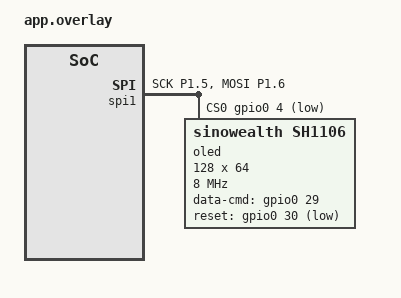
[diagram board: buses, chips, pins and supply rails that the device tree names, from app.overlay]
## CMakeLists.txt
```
cmake_minimum_required(VERSION 3.20.0)

find_package(Zephyr REQUIRED HINTS \$ENV{ZEPHYR_BASE})
project(oled_hello_world)

target_sources(app PRIVATE
  src/main.c
  src/controls.c 
  src/render.c 
  src/animations/animation_3.c
)
```

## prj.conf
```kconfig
CONFIG_GPIO=y
CONFIG_SPI=y

CONFIG_DISPLAY=y
CONFIG_SSD1306=y

CONFIG_CHARACTER_FRAMEBUFFER=y
CONFIG_HEAP_MEM_POOL_SIZE=4096

CONFIG_CONSOLE=y
CONFIG_UART_CONSOLE=y
CONFIG_LOG=y

CONFIG_MAIN_STACK_SIZE=2048
CONFIG_ASSERT=y
```

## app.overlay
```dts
#include <zephyr/dt-bindings/gpio/gpio.h>

/ {
	chosen {
		/* Вказуємо Zephyr використовувати саме наш пристрій як головний дисплей */
		zephyr,display = &oled;
	};
};

&pinctrl {
	spi1_default: spi1_default {
		group1 {
			psels = <NRF_PSEL(SPIM_SCK, 1, 5)>,
				<NRF_PSEL(SPIM_MOSI, 1, 6)>;
		};
	};

	spi1_sleep: spi1_sleep {
		group1 {
			psels = <NRF_PSEL(SPIM_SCK, 1, 5)>,
				<NRF_PSEL(SPIM_MOSI, 1, 6)>;
			low-power-enable;
		};
	};
};

&spi1 {
	compatible = "nordic,nrf-spim";
	status = "okay";
	/* Явно зв'язуємо конфігурацію пінів з периферійним модулем */
	pinctrl-0 = <&spi1_default>;
	pinctrl-1 = <&spi1_sleep>;
	pinctrl-names = "default", "sleep";
	cs-gpios = <&gpio0 4 GPIO_ACTIVE_LOW>;

	oled: sh1106@0 {
		compatible = "sinowealth,sh1106";
		reg = <0>;
		spi-max-frequency = <8000000>;
		width = <128>;
		height = <64>;
		segment-offset = <2>;
		page-offset = <0>;
		display-offset = <0>;
		multiplex-ratio = <63>;
		prechargep = <0x22>;
		segment-remap;
		com-invdir;
		data-cmd-gpios = <&gpio0 29 GPIO_ACTIVE_HIGH>;
		reset-gpios = <&gpio0 30 GPIO_ACTIVE_LOW>;
	};
};
```

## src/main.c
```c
#include <zephyr/kernel.h>
#include <zephyr/device.h>
#include <zephyr/drivers/display.h>
#include <zephyr/display/cfb.h>
#include <stdio.h>

#include "controls.h"
#include "render.h"

static const struct device *const display = DEVICE_DT_GET(DT_CHOSEN(zephyr_display));
K_SEM_DEFINE(display_sem, 0, 1);

void animation_timer_handler(struct k_timer *dummy) {
	k_sem_give(&display_sem);
}
K_TIMER_DEFINE(anim_timer, animation_timer_handler, NULL);

int main(void) {
	if (!device_is_ready(display) || cfb_framebuffer_init(display)) {
		return -EIO;
	}

  int64_t last_time = k_uptime_get();
  int64_t current_time;

	cfb_framebuffer_invert(display);

	init_controls();

	uint16_t width = cfb_get_display_parameter(display, CFB_DISPLAY_WIDTH);
	uint16_t height = cfb_get_display_parameter(display, CFB_DISPLAY_HEIGHT);

	k_timer_start(&anim_timer, K_NO_WAIT, K_MSEC(20)); 

	while (1) {
		k_sem_take(&display_sem, K_FOREVER);

    current_time = k_uptime_get();
    float dt = (current_time - last_time) / 1000.0f;
    last_time = current_time;

    cfb_framebuffer_clear(display, false);

    ControlsState current_buttons;
		get_buttons_snapshot(&current_buttons);

    render_draw(display, dt, current_buttons, width, height);

		cfb_framebuffer_finalize(display);
	}
	return 0;
}
```

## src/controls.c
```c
#include "controls.h"

static const struct gpio_dt_spec btn_1_spec = GPIO_DT_SPEC_GET(DT_ALIAS(sw0), gpios);
static const struct gpio_dt_spec btn_2_spec = GPIO_DT_SPEC_GET(DT_ALIAS(sw1), gpios);
static const struct gpio_dt_spec btn_3_spec = GPIO_DT_SPEC_GET(DT_ALIAS(sw2), gpios);
static const struct gpio_dt_spec btn_4_spec = GPIO_DT_SPEC_GET(DT_ALIAS(sw3), gpios);

static struct gpio_callback cb_1, cb_2, cb_3, cb_4;

static volatile bool is_btn_1_pressed = false;
static volatile bool is_btn_2_pressed = false;
static volatile bool is_btn_3_pressed = false;
static volatile bool is_btn_4_pressed = false;

static void handler_btn_1(const struct device *dev, struct gpio_callback *cb, uint32_t pins) {
	is_btn_1_pressed = gpio_pin_get_dt(&btn_1_spec);
}

static void handler_btn_2(const struct device *dev, struct gpio_callback *cb, uint32_t pins) {
	is_btn_2_pressed = gpio_pin_get_dt(&btn_2_spec);
}

static void handler_btn_3(const struct device *dev, struct gpio_callback *cb, uint32_t pins) {
	is_btn_3_pressed = gpio_pin_get_dt(&btn_3_spec);
}

static void handler_btn_4(const struct device *dev, struct gpio_callback *cb, uint32_t pins) {
	is_btn_4_pressed = gpio_pin_get_dt(&btn_4_spec);
}

void init_controls(void) {
	if (device_is_ready(btn_1_spec.port)) {
		gpio_pin_configure_dt(&btn_1_spec, GPIO_INPUT);
		gpio_pin_interrupt_configure_dt(&btn_1_spec, GPIO_INT_EDGE_BOTH);
		gpio_init_callback(&cb_1, handler_btn_1, BIT(btn_1_spec.pin));
		gpio_add_callback(btn_1_spec.port, &cb_1);
	}
	if (device_is_ready(btn_2_spec.port)) {
		gpio_pin_configure_dt(&btn_2_spec, GPIO_INPUT);
		gpio_pin_interrupt_configure_dt(&btn_2_spec, GPIO_INT_EDGE_BOTH);
		gpio_init_callback(&cb_2, handler_btn_2, BIT(btn_2_spec.pin));
		gpio_add_callback(btn_2_spec.port, &cb_2);
	}
	if (device_is_ready(btn_3_spec.port)) {
		gpio_pin_configure_dt(&btn_3_spec, GPIO_INPUT);
		gpio_pin_interrupt_configure_dt(&btn_3_spec, GPIO_INT_EDGE_BOTH);
		gpio_init_callback(&cb_3, handler_btn_3, BIT(btn_3_spec.pin));
		gpio_add_callback(btn_3_spec.port, &cb_3);
	}
	if (device_is_ready(btn_4_spec.port)) {
		gpio_pin_configure_dt(&btn_4_spec, GPIO_INPUT);
		gpio_pin_interrupt_configure_dt(&btn_4_spec, GPIO_INT_EDGE_BOTH);
		gpio_init_callback(&cb_4, handler_btn_4, BIT(btn_4_spec.pin));
		gpio_add_callback(btn_4_spec.port, &cb_4);
	}
}

void get_buttons_snapshot(ControlsState *state) {
    if (state == NULL) {
        return;
    }
    state->btn_1 = is_btn_1_pressed;
    state->btn_2 = is_btn_2_pressed;
    state->btn_3 = is_btn_3_pressed;
    state->btn_4 = is_btn_4_pressed;
}
```

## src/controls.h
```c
#ifndef CONTROLS_H_
#define CONTROLS_H_

// Захищаємо controls.c і даємо йому всі типи ядра Zephyr тут!
#include <zephyr/kernel.h>
#include <zephyr/device.h>
#include <zephyr/drivers/gpio.h>
#include <stdint.h>
#include <stdbool.h>
#include <stddef.h>

typedef struct {
    bool btn_1;
    bool btn_2;
    bool btn_3;
    bool btn_4;
} ControlsState;

void init_controls(void);
void get_buttons_snapshot(ControlsState *state);

#endif /* CONTROLS_H_ */
```

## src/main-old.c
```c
#include <zephyr/kernel.h>
#include <zephyr/device.h>
#include <zephyr/drivers/display.h>
#include <zephyr/display/cfb.h>
#include <zephyr/logging/log.h>

LOG_MODULE_REGISTER(main, LOG_LEVEL_INF);

static const struct device *const display = DEVICE_DT_GET(DT_CHOSEN(zephyr_display));

K_SEM_DEFINE(display_sem, 0, 1);

void animation_timer_handler(struct k_timer *dummy) {
	k_sem_give(&display_sem);
}
K_TIMER_DEFINE(anim_timer, animation_timer_handler, NULL);

const int speed_px_per_sec = 20;

struct Line {
  float x;
  int y;
  int vx;
  int length;
};

int main(void)
{
	uint8_t font_width;
	uint8_t font_height;
	float x_pos;
	float y_pos;

  int64_t last_time = k_uptime_get();
  int64_t current_time;

	if (!device_is_ready(display)) {
		LOG_ERR("Display device not ready");
		return -ENODEV;
	}

	if (cfb_framebuffer_init(display)) {
		LOG_ERR("Framebuffer initialization failed");
		return -EIO;
	}

	cfb_framebuffer_set_font(display, 0);
	cfb_get_font_size(display, 0, &font_width, &font_height);

	cfb_framebuffer_clear(display, false);
  cfb_framebuffer_invert(display);

	x_pos = (float)(128 - (12 * font_width)) / 2.0f;
	y_pos = (float)(64 - font_height) / 2.0f;

	if (x_pos < 0) x_pos = 0;
	if (y_pos < 0) y_pos = 0;

  uint16_t width = cfb_get_display_parameter(display, CFB_DISPLAY_WIDTH);
	uint16_t height = cfb_get_display_parameter(display, CFB_DISPLAY_HEIGHT);

  k_timer_start(&anim_timer, K_NO_WAIT, K_MSEC(25));

  struct Line lines[height];

  for (int i = 0; i < height; i++) {
    lines[i].x = 0.0f;   
    lines[i].y = i;
    lines[i].vx = width + i;
    lines[i].length = 20;
  }

	while (1) {
		k_sem_take(&display_sem, K_FOREVER);

    current_time = k_uptime_get();
    float dt = (current_time - last_time) / 1000.0f;
    last_time = current_time;

    cfb_framebuffer_clear(display, false);

    cfb_draw_text(display, "Hello world", (int)x_pos, (int)y_pos);

    y_pos += speed_px_per_sec * dt;

    if (y_pos > height) {
      y_pos = -font_height;
    }

    for (int i = 0; i < height; i++) {
      lines[i].x += lines[i].vx * dt;

      if (lines[i].x > width) {
        lines[i].x = (float)(-lines[i].length);
      }

      struct cfb_position p1 = { .x = (int)lines[i].x, .y = lines[i].y };
      struct cfb_position p2 = { .x = (int)lines[i].x + lines[i].length, .y = lines[i].y };

      cfb_draw_line(display, &p1, &p2);
    }

    cfb_framebuffer_finalize(display);
	}

	return 0;
}
```

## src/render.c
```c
#include "render.h"
#include <zephyr/display/cfb.h>
#include <math.h>
#include <string.h>

#include "animations/animation_3.h"

void render_draw(const struct device *display, float dt, ControlsState buttons, int width, int height) {
  anim3_draw(display, dt, width, height, buttons);
};
```

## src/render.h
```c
#ifndef RENDER_H_
#define RENDER_H_

#include <zephyr/device.h>
#include <stdint.h>
#include "controls.h"

void render_draw(const struct device *display, float dt, ControlsState buttons, int width, int height);

#endif /* RENDER_H_ */
```
